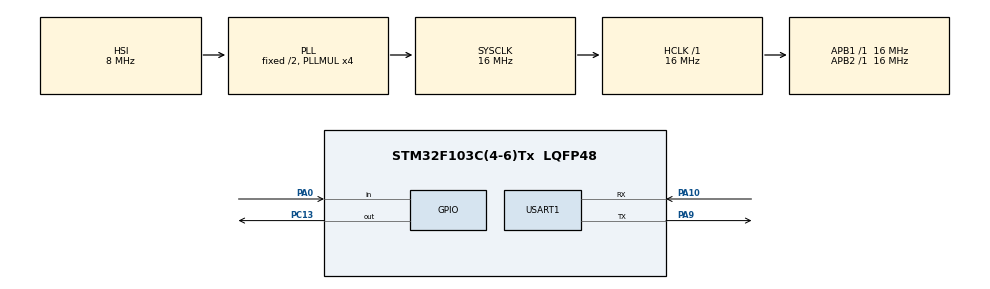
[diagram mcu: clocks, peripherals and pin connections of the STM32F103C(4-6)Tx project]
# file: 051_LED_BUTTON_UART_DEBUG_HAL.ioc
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Mcu.Family=STM32F1
Mcu.Name=STM32F103C(4-6)Tx
Mcu.Package=LQFP48
NVIC.PriorityGroup=NVIC_PRIORITYGROUP_4
PA0-WKUP.GPIO_PuPd=GPIO_PULLUP
PA0-WKUP.Signal=GPIO_Input
PA10.Mode=Asynchronous
PA10.Signal=USART1_RX
PA13.Mode=Serial_Wire
PA13.Signal=SYS_JTMS-SWDIO
PA14.Mode=Serial_Wire
PA14.Signal=SYS_JTCK-SWCLK
PA9.Mode=Asynchronous
PA9.Signal=USART1_TX
PC13-TAMPER-RTC.Signal=GPIO_Output
ProjectManager.HeapSize=0x200
ProjectManager.StackSize=0x400
ProjectManager.TargetToolchain=STM32CubeIDE
RCC.AHBFreq_Value=16000000
RCC.APB1Freq_Value=16000000
RCC.APB1TimFreq_Value=16000000
RCC.APB2Freq_Value=16000000
RCC.APB2TimFreq_Value=16000000
RCC.HCLKFreq_Value=16000000
RCC.PLLMUL=RCC_PLL_MUL4
RCC.SYSCLKFreq_VALUE=16000000
RCC.SYSCLKSource=RCC_SYSCLKSOURCE_PLLCLK
RCC.USBFreq_Value=16000000
USART1.VirtualMode=VM_ASYNC
board=custom

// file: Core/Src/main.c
/* USER CODE BEGIN Header */
/**
  ******************************************************************************
  * @file           : main.c
  * @brief          : Main program body
  ******************************************************************************
  * @attention
  *
  * Copyright (c) 2025 STMicroelectronics.
  * All rights reserved.
  *
  * This software is licensed under terms that can be found in the LICENSE file
  * in the root directory of this software component.
  * If no LICENSE file comes with this software, it is provided AS-IS.
  *
  ******************************************************************************
  */
/* USER CODE END Header */
#include "main.h"

UART_HandleTypeDef huart1;

void SystemClock_Config(void);
static void MX_GPIO_Init(void);
static void MX_USART1_UART_Init(void);

int main(void)
{

  /* MCU Configuration--------------------------------------------------------*/

  /* Reset of all peripherals, Initializes the Flash interface and the Systick. */
  HAL_Init();

  /* Configure the system clock */
  SystemClock_Config();

  /* Initialize all configured peripherals */
  MX_GPIO_Init();
  MX_USART1_UART_Init();
  /* USER CODE BEGIN 2 */
  // Variablen für die Hauptschleife
    uint32_t last_led_toggle = 0;

    // Start-Zustand des Buttons: Losgelassen (wird von PULLUP auf SET/HIGH gezogen)
    GPIO_PinState last_button_state = GPIO_PIN_SET;

    // LED initial ausschalten (PC13 an = LOW, aus = HIGH)
    HAL_GPIO_WritePin(GPIOC, GPIO_PIN_13, GPIO_PIN_SET);

    // Start-Nachricht senden
    uart_send_string("--- System Start (HAL / CubeMX) ---\r\n");
    uart_send_string("Clock: 16 MHz (HSI/PLL)\r\n");
    uart_send_string("Framework: HAL\r\n");
  /* USER CODE END 2 */

  /* Infinite loop */
  while (1)
  {

    /* USER CODE BEGIN 3 */
	  // Aktuelle Zeit holen
	      uint32_t now = HAL_GetTick();

	      // --- Task 1: LED Blinken (alle 500ms) ---
	      if (now - last_led_toggle >= 500)
	      {
	        last_led_toggle = now;
	        HAL_GPIO_TogglePin(GPIOC, GPIO_PIN_13);
	      }

	      // --- Task 2: Button abfragen ---
	      GPIO_PinState current_button_state = HAL_GPIO_ReadPin(GPIOA, GPIO_PIN_0);

	      if (current_button_state != last_button_state)
	      {
	        // Minimales Debouncing: 1ms warten und nochmal prüfen
	        HAL_Delay(1);
	        current_button_state = HAL_GPIO_ReadPin(GPIOA, GPIO_PIN_0);
	      }

	      // Wenn der Zustand nach 1ms immer noch anders ist, war es eine echte Flanke
	      if (current_button_state != last_button_state)
	      {
	        last_button_state = current_button_state;

	        if (current_button_state == GPIO_PIN_RESET) // RESET = 0 = Gedrückt (wegen PULLUP)
	        {
	          uart_send_string("STATUS: Button GEDRUECKT\r\n");
	        }
	        else // current_button_state == GPIO_PIN_SET
	        {
	          uart_send_string("STATUS: Button LOSGELASSEN\r\n");
	        }
	      }
  }
  /* USER CODE END 3 */
}

void SystemClock_Config(void)
{
  RCC_OscInitTypeDef RCC_OscInitStruct = {0};
  RCC_ClkInitTypeDef RCC_ClkInitStruct = {0};

  /** Initializes the RCC Oscillators according to the specified parameters
  * in the RCC_OscInitTypeDef structure.
  */
  RCC_OscInitStruct.OscillatorType = RCC_OSCILLATORTYPE_HSI;
  RCC_OscInitStruct.HSIState = RCC_HSI_ON;
  RCC_OscInitStruct.HSICalibrationValue = RCC_HSICALIBRATION_DEFAULT;
  RCC_OscInitStruct.PLL.PLLState = RCC_PLL_ON;
  RCC_OscInitStruct.PLL.PLLSource = RCC_PLLSOURCE_HSI_DIV2;
  RCC_OscInitStruct.PLL.PLLMUL = RCC_PLL_MUL4;
  if (HAL_RCC_OscConfig(&RCC_OscInitStruct) != HAL_OK)
  {
    Error_Handler();
  }

  /** Initializes the CPU, AHB and APB buses clocks
  */
  RCC_ClkInitStruct.ClockType = RCC_CLOCKTYPE_HCLK|RCC_CLOCKTYPE_SYSCLK
                              |RCC_CLOCKTYPE_PCLK1|RCC_CLOCKTYPE_PCLK2;
  RCC_ClkInitStruct.SYSCLKSource = RCC_SYSCLKSOURCE_PLLCLK;
  RCC_ClkInitStruct.AHBCLKDivider = RCC_SYSCLK_DIV1;
  RCC_ClkInitStruct.APB1CLKDivider = RCC_HCLK_DIV1;
  RCC_ClkInitStruct.APB2CLKDivider = RCC_HCLK_DIV1;

  if (HAL_RCC_ClockConfig(&RCC_ClkInitStruct, FLASH_LATENCY_0) != HAL_OK)
  {
    Error_Handler();
  }
}

static void MX_USART1_UART_Init(void)
{

  huart1.Instance = USART1;
  huart1.Init.BaudRate = 115200;
  huart1.Init.WordLength = UART_WORDLENGTH_8B;
  huart1.Init.StopBits = UART_STOPBITS_1;
  huart1.Init.Parity = UART_PARITY_NONE;
  huart1.Init.Mode = UART_MODE_TX_RX;
  huart1.Init.HwFlowCtl = UART_HWCONTROL_NONE;
  huart1.Init.OverSampling = UART_OVERSAMPLING_16;
  if (HAL_UART_Init(&huart1) != HAL_OK)
  {
    Error_Handler();
  }

}

static void MX_GPIO_Init(void)
{
  GPIO_InitTypeDef GPIO_InitStruct = {0};

  /* GPIO Ports Clock Enable */
  __HAL_RCC_GPIOC_CLK_ENABLE();
  __HAL_RCC_GPIOA_CLK_ENABLE();

  /*Configure GPIO pin Output Level */
  HAL_GPIO_WritePin(GPIOC, GPIO_PIN_13, GPIO_PIN_RESET);

  /*Configure GPIO pin : PC13 */
  GPIO_InitStruct.Pin = GPIO_PIN_13;
  GPIO_InitStruct.Mode = GPIO_MODE_OUTPUT_PP;
  GPIO_InitStruct.Pull = GPIO_NOPULL;
  GPIO_InitStruct.Speed = GPIO_SPEED_FREQ_LOW;
  HAL_GPIO_Init(GPIOC, &GPIO_InitStruct);

  /*Configure GPIO pin : PA0 */
  GPIO_InitStruct.Pin = GPIO_PIN_0;
  GPIO_InitStruct.Mode = GPIO_MODE_INPUT;
  GPIO_InitStruct.Pull = GPIO_PULLUP;
  HAL_GPIO_Init(GPIOA, &GPIO_InitStruct);

}

/* USER CODE BEGIN 4 */
#include <string.h> // Für strlen()

/**
  * @brief Sendet einen String über UART1 (blockierend)
  */
void uart_send_string(const char* s)
{
  // Sende mit 100ms Timeout
  HAL_UART_Transmit(&huart1, (uint8_t*)s, strlen(s), 100);
}
/* USER CODE END 4 */

void Error_Handler(void)
{
  __disable_irq();
  while (1)
  {
  }
}
